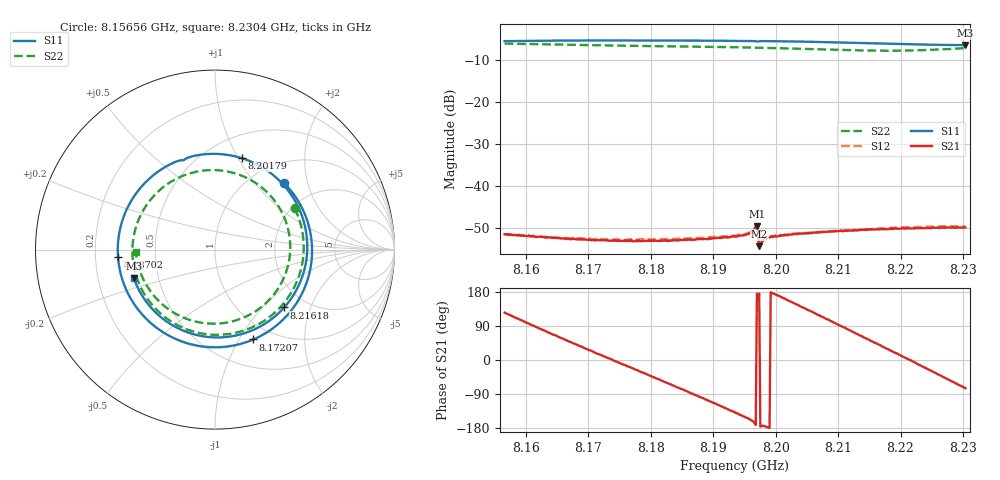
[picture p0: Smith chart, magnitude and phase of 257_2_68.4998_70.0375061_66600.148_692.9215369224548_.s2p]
#  HZ  S  RI  R  50.00
! Rohde & Schwarz Vector Network Analyzer
! Rohde-Schwarz,ZNB20-2Port,1311601062101988,3.16
! Created: UTC 3/20/2024, 5:00:06 PM
! freq[Hz]  re:S11  im:S11  re:S21  im:S21  re:S12  im:S12  re:S22  im:S22
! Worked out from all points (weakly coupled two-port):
!   401 points, 8.15656 GHz to 8.2304 GHz, reference 50 ohm
!   highest |S21| = -49.45 dB at 8.19699 GHz (marker M1); lowest = -54.2 dB at 8.19736 GHz (marker M2)
!   lowest |S11| = -6.4 dB at 8.2304 GHz (marker M3), VSWR 2.84, Z = 18.1 - j7.5 ohm
!   |S11| at or under -10 dB: nowhere
!   |S22| runs from -7.7 to -6.0 dB; largest |S21 - S12| = 0.00025
!   S11 on the Smith chart (normalised r, x): 8.15656 GHz: 1.39, +1.44; 8.17207 GHz: 0.81, -1.15; 8.18702 GHz: 0.30, -0.03; 8.20179 GHz: 0.73, +1.03; 8.21618 GHz: 1.55, -1.34; 8.2304 GHz: 0.36, -0.15
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8.156562e9  0.3863 0.3694  -0.00155 0.00221  -0.00151 0.00226  0.4443 0.2295
8.162838e9  0.5408 -0.011  0.000513 0.00244  0.000486 0.00248  0.4694 -0.1423
8.168929e9  0.3879 -0.3813  0.00192 0.00134  0.00196 0.00139  0.246 -0.4133
8.172067e9  0.2134 -0.5008  0.00224 0.000492  0.00232 0.000539  0.0747 -0.4706
8.176682e9  -0.0959 -0.5359  0.00212 -0.000728  0.00218 -0.000753  -0.1827 -0.4336
8.181297e9  -0.3754 -0.3931  0.00141 -0.00174  0.00147 -0.00185  -0.3798 -0.2693
8.187019e9  -0.5405 -0.0407  -6.84e-05 -0.00232  -0.000125 -0.0024  -0.4584 0.0332
8.190157e9  -0.5115 0.1754  -0.000987 -0.00222  -0.0011 -0.00228  -0.4101 0.1998
8.19348e9  -0.3898 0.3722  -0.0019 -0.00167  -0.002 -0.00167  -0.2948 0.3428
8.196618e9  -0.2049 0.4942  -0.00303 -0.000731  -0.0031 -0.000634  -0.1402 0.4247
8.196987e9  -0.1785 0.4978  -0.00335 0.000298  -0.0034 0.000408  -0.12 0.4299
8.197356e9  -0.1629 0.507  -0.00194 0.000151  -0.00196 0.000221  -0.0998 0.4348
8.197726e9  -0.1369 0.5169  -0.00213 -0.000224  -0.00218 -0.000127  -0.0793 0.4383
8.201787e9  0.1481 0.5097  -0.00244 0.000939  -0.00244 0.00105  0.1478 0.4121
8.205847e9  0.3864 0.355  -0.00167 0.00223  -0.00163 0.00233  0.333 0.271
8.211016e9  0.5143 0.0176  0.000214 0.00297  0.000316 0.00297  0.418 -0.0198
8.216185e9  0.3854 -0.3224  0.00225 0.00213  0.00238 0.00208  0.2787 -0.3027
8.218215e9  0.273 -0.4161  0.00279 0.0014  0.0029 0.00132  0.1695 -0.3746
8.221168e9  0.0726 -0.4859  0.00317 0.000144  0.00331 -6.09e-06  -0.0203 -0.4127
8.223937e9  -0.126 -0.4696  0.00298 -0.00113  0.00304 -0.00126  -0.2001 -0.3676
8.227445e9  -0.341 -0.3398  0.00208 -0.00247  0.00204 -0.00263  -0.3765 -0.2068
8.230398e9  -0.4518 -0.1601  0.00087 -0.00313  0.000687 -0.00331  -0.4416 -0.0126
